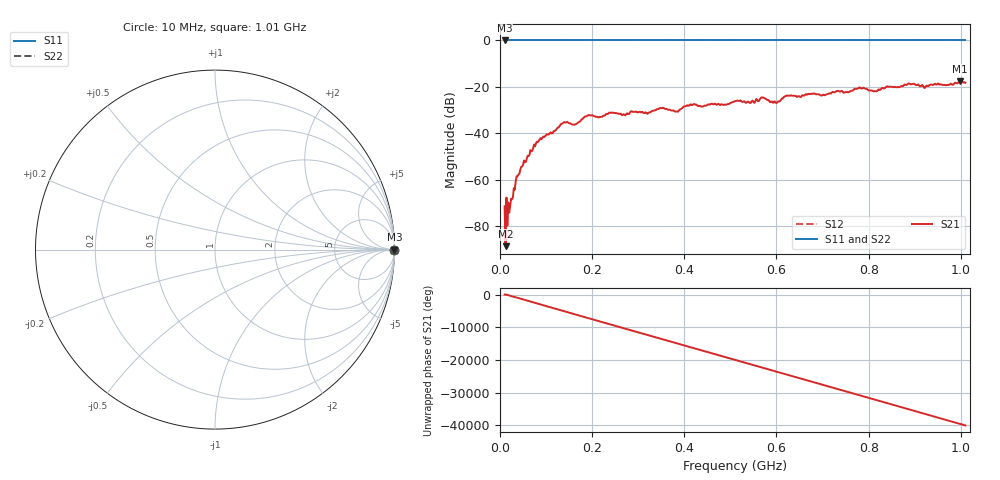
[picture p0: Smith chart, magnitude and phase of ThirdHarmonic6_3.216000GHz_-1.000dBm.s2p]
! 8/17/2025 9:48:27 AM
! C:\ANRITSUVNA\TEMP\TEMP.S2P
! CHANNEL.1
! TR.MEASUREMENT
! RAW.DATA
! RF.CORRECTION.OFF
! AVERAGING.OFF
! IF.BANDWIDTH: 5KHZ
! SWEEPTYPE:  FREQ.SWEEP(Linear)
! Reference Plane Port Info
! PORT:  PORT1  PORT2
! DISTANCE:  0  m  0  m
! TIME:  0  s  0  s
! PHASE.OFFSET:  0  deg.  0  deg.
! LOSS:  0  dB  0  dB
! REF.LOSS:  0  dB  0  dB
! REF.FREQ:  0  Hz  0  Hz
! Power Info
! POWER:  -20  dBm  -20  dBm
! EFF.POWER:  -20  dBm  -20  dBm
! SOURCE.ATTEN:  0  dB  0  dB
! TEST.ATTEN:  0  dB  0  dB
# GHZ S RI R 50.0
! FREQ.GHZ  S11RE  S11IM  S21RE  S21IM  S12RE  S12IM  S22RE  S22IM
!; PortSelection: Port_12
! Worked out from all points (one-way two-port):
!   501 points, 10 MHz to 1.01 GHz, reference 50 ohm
!   highest |S21| = -17.61 dB at 998 MHz (marker M1); lowest = -88.5 dB at 12 MHz (marker M2)
!   lowest |S11| = 0.0 dB at 10 MHz (marker M3)
!   |S11| at or under -10 dB: nowhere
!   |S22| runs from 0.0 to 0.0 dB; largest |S21 - S12| = 1.1
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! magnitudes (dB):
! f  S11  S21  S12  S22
! 10 MHz  0.0  -71.4  0.0  0.0
! 12 MHz  0.0  -88.5  0.0  0.0
! 20 MHz  0.0  -74.1  0.0  0.0
! 34 MHz  0.0  -60.8  0.0  0.0
! 48 MHz  0.0  -54.3  0.0  0.0
! 78 MHz  0.0  -44.3  0.0  0.0
! 136 MHz  0.0  -35.7  0.0  0.0
! 162 MHz  0.0  -36.3  0.0  0.0
! 178 MHz  0.0  -33.9  0.0  0.0
! 344 MHz  0.0  -29.5  0.0  0.0
! 384 MHz  0.0  -30.5  0.0  0.0
! 416 MHz  0.0  -27.8  0.0  0.0
! 510 MHz  0.0  -26.2  0.0  0.0
! 570 MHz  0.0  -24.6  0.0  0.0
! 596 MHz  0.0  -26.2  0.0  0.0
! 622 MHz  0.0  -23.7  0.0  0.0
! 678 MHz  0.0  -23.0  0.0  0.0
! 784 MHz  0.0  -20.7  0.0  0.0
! 814 MHz  0.0  -21.8  0.0  0.0
! 844 MHz  0.0  -20.0  0.0  0.0
! 998 MHz  0.0  -17.6  0.0  0.0
! 1.01 GHz  0.0  -18.2  0.0  0.0
